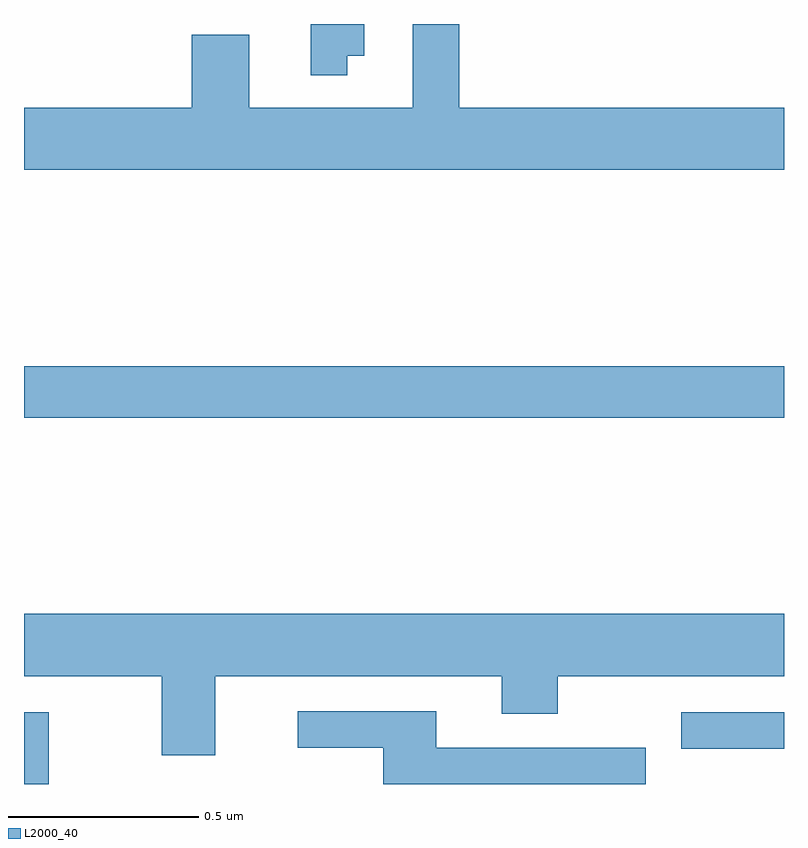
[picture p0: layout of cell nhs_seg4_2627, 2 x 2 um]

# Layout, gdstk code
import gdstk
lib = gdstk.Library(unit=1e-6, precision=1e-09)
def R(c, l, rs):  # rectangles x0, y0, x1, y1
    for r in rs: c.add(gdstk.rectangle(r[:2], r[2:], *l))
def P(c, l, *ps):  # polygons
    for p in ps: c.add(gdstk.Polygon(p, *l))
L2000_40 = (2000, 40)

nhs_seg4_2627 = lib.new_cell('nhs_seg4_2627')
R(nhs_seg4_2627, L2000_40, [(143,765.9,143.065,766.089), (144.729,765.993,145,766.089), (143,766.864,145,767)])
P(nhs_seg4_2627, L2000_40, [(145,767.68),(144.146,767.68),(144.146,767.9),(144.023,767.9),(144.023,767.68),(143.593,767.68),(143.593,767.872),(143.441,767.872),(143.441,767.68),(143,767.68),(143,767.516),(145,767.516)],
  [(143.851,767.816),(143.896,767.816),(143.896,767.9),(143.754,767.9),(143.754,767.765),(143.851,767.765)],
  [(143.503,766.184),(144.257,766.184),(144.257,766.085),(144.405,766.085),(144.405,766.184),(145,766.184),(145,766.348),(143,766.348),(143,766.184),(143.363,766.184),(143.363,765.976),(143.503,765.976)],
  [(144.636,765.996),(144.085,765.996),(144.085,766.092),(143.721,766.092),(143.721,765.996),(143.945,765.996),(143.945,765.9),(144.636,765.9)])

lib.write_gds('nhs_seg4_2627.gds')
